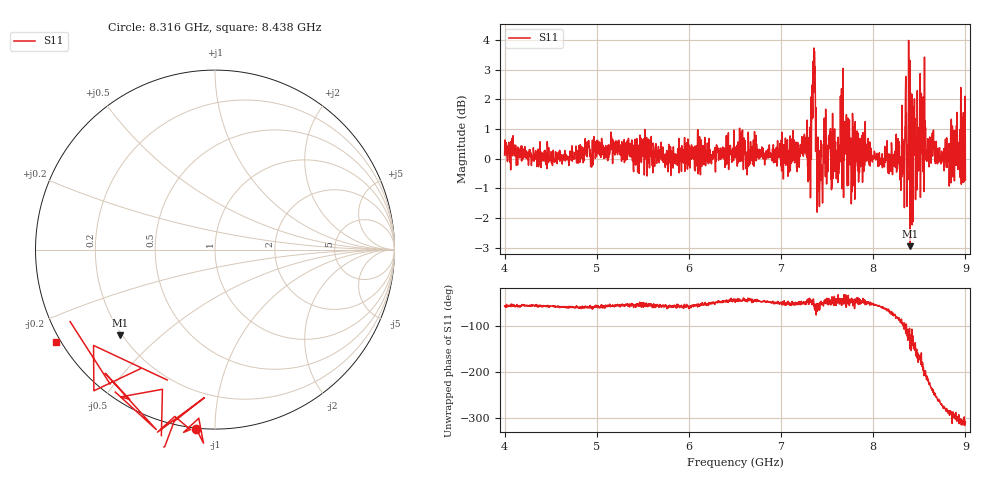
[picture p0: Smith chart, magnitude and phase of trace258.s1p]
! Created with skrf 1.8.0 (http://scikit-rf.org).
# Hz S RI R 50.0
!freq ReS11 ImS11
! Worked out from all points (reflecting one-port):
!   1601 points, 4 GHz to 9 GHz, reference 50 ohm
!   lowest |S11| = -2.9 dB at 8.4 GHz (marker M1), VSWR 5.95, Z = 9.6 - j18.6 ohm
!   phase of S11 starts at -58 deg and turns -250 deg over the sweep
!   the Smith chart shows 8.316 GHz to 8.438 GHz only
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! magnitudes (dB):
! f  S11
! 4 GHz  0.1
! 4.625 GHz  -0.2
! 5.25 GHz  0.2
! 5.875 GHz  -0.2
! 6.5 GHz  0.2
! 7.125 GHz  0.1
! 7.297 GHz  0.7
! 7.356 GHz  3.7
! 7.381 GHz  1.0
! 7.397 GHz  -0.4
! 7.428 GHz  0.0
! 7.481 GHz  -0.6
! 7.609 GHz  0.3
! 7.691 GHz  0.1
! 7.75 GHz  -0.2
! 7.928 GHz  0.4
! 8.312 GHz  1.8
! 8.338 GHz  -1.6
! 8.375 GHz  -0.7
! 8.4 GHz  -2.9
! 8.447 GHz  2.0
! 8.459 GHz  -1.4
! 8.481 GHz  0.3
! 8.544 GHz  1.3
! 8.597 GHz  0.2
! 8.747 GHz  -0.1
! 8.972 GHz  0.1
! 9 GHz  -0.7
